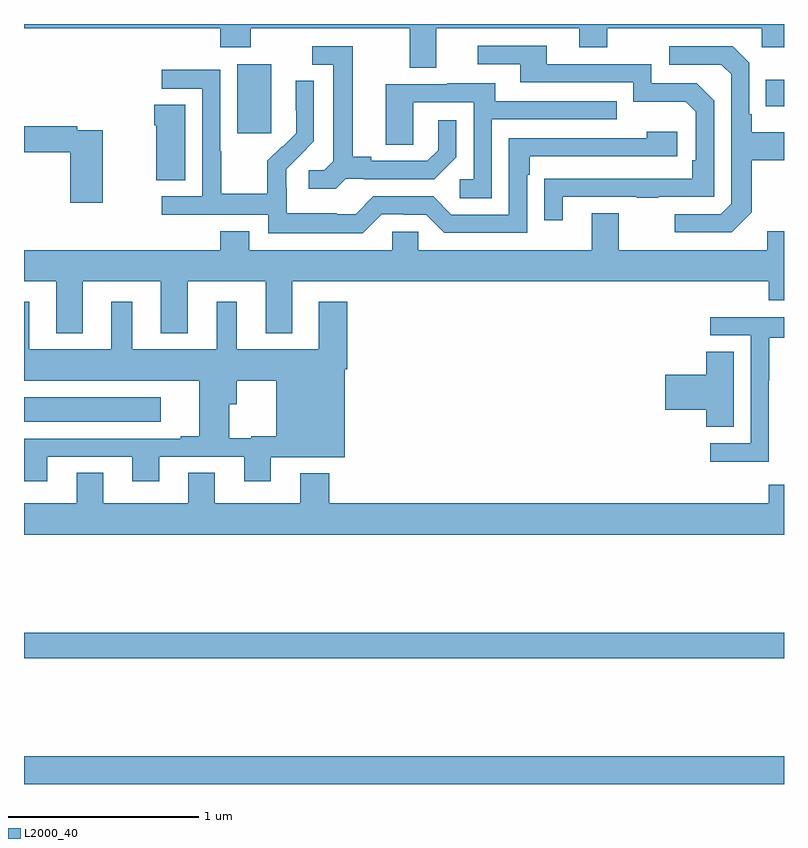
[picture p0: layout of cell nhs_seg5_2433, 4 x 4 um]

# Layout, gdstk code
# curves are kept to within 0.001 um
import gdstk
lib = gdstk.Library(unit=1e-6, precision=1e-09)
def R(c, l, rs):  # rectangles x0, y0, x1, y1
    for r in rs: c.add(gdstk.rectangle(r[:2], r[2:], *l))
def P(c, l, *ps):  # polygons
    for p in ps: c.add(gdstk.Polygon(p, *l))
L2000_40 = (2000, 40)

nhs_seg5_2433 = lib.new_cell('nhs_seg5_2433')
R(nhs_seg5_2433, L2000_40, [(253,836.799,257,836.944), (253,837.46,257,837.596), (253,838.706,253.72,838.834), (254.123,840.225,254.302,840.586), (256.903,840.365,257,840.505)])
P(nhs_seg5_2433, L2000_40, [(253,840.776),(254.033,840.776),(254.033,840.677),(254.193,840.677),(254.193,840.776),(255.029,840.776),(255.029,840.568),(255.169,840.568),(255.169,840.776),(255.923,840.776),(255.923,840.677),(256.071,840.677),(256.071,840.776),(256.884,840.776),(256.884,840.677),(257,840.677),(257,840.799),(253,840.799)],
  [(255.835,839.889),(256.225,839.889),(256.225,839.884),(256.337,839.884),(256.337,839.889),(256.632,839.889),(256.632,840.396),(256.542,840.486),(256.302,840.486),(256.302,840.588),(255.751,840.588),(255.751,840.684),(255.387,840.684),(255.387,840.588),(255.611,840.588),(255.611,840.492),(256.206,840.492),(256.206,840.389),(256.483,840.389),(256.536,840.336),(256.536,840.082),(256.516,840.082),(256.516,839.985),(255.739,839.984),(255.739,839.766),(255.835,839.766)],
  [(254.694,839.985),(254.788,839.985),(254.788,839.982),(255.16,839.982),(255.276,840.098),(255.276,840.292),(255.179,840.292),(255.179,840.135),(255.122,840.078),(254.827,840.078),(254.827,840.101),(254.731,840.101),(254.731,840.681),(254.517,840.681),(254.517,840.585),(254.627,840.585),(254.627,840.077),(254.58,840.03),(254.499,840.03),(254.499,839.933),(254.642,839.933)],
  [(256.831,839.809),(256.831,840.082),(257,840.082),(257,840.229),(256.831,840.229),(256.831,840.325),(256.818,840.325),(256.818,840.594),(256.731,840.681),(256.395,840.681),(256.395,840.585),(256.671,840.585),(256.722,840.534),(256.722,839.853),(256.668,839.799),(256.425,839.799),(256.425,839.703),(256.725,839.703)],
  [(254.883,839.799),(254.999,839.799),(254.999,839.796),(255.117,839.796),(255.213,839.7),(255.648,839.7),(255.648,840.005),(255.661,840.005),(255.661,840.102),(256.438,840.102),(256.438,840.232),(256.277,840.232),(256.277,840.198),(255.552,840.198),(255.552,839.796),(255.249,839.796),(255.153,839.892),(254.838,839.892),(254.745,839.799),(254.645,839.799),(254.645,839.803),(254.382,839.803),(254.382,839.937),(254.38,839.937),(254.38,840.034),(254.526,840.182),(254.526,840.5),(254.43,840.5),(254.43,840.346),(254.432,840.346),(254.432,840.224),(254.361,840.153),(254.358,840.156),(254.281,840.079),(254.281,839.905),(254.037,839.905),(254.037,840.128),(254.034,840.128),(254.034,840.558),(253.725,840.558),(253.725,840.459),(253.938,840.459),(253.938,839.892),(253.725,839.892),(253.725,839.796),(254.286,839.796),(254.286,839.699),(254.783,839.699)],
  [(255.462,840.297),(256.121,840.297),(256.121,840.393),(255.481,840.393),(255.481,840.487),(255.227,840.487),(255.227,840.483),(254.903,840.483),(254.903,840.163),(255.048,840.163),(255.048,840.387),(255.366,840.387),(255.366,839.982),(255.294,839.982),(255.294,839.881),(255.462,839.881)],
  [(253.849,840.374),(253.685,840.374),(253.685,840.266),(253.697,840.266),(253.697,839.977),(253.849,839.977)],
  [(253.414,840.24),(253.28,840.24),(253.28,840.26),(253,840.26),(253,840.124),(253.244,840.124),(253.244,839.859),(253.414,839.859)],
  [(256.919,839.345),(257,839.345),(257,839.707),(256.913,839.707),(256.913,839.608),(256.129,839.608),(256.129,839.803),(255.989,839.803),(255.989,839.608),(255.075,839.608),(255.075,839.706),(254.937,839.706),(254.937,839.608),(254.185,839.608),(254.185,839.707),(254.033,839.707),(254.033,839.608),(253,839.608),(253,839.444),(253.169,839.444),(253.169,839.171),(253.309,839.171),(253.309,839.444),(253.721,839.444),(253.721,839.171),(253.861,839.171),(253.861,839.444),(254.273,839.444),(254.273,839.171),(254.413,839.171),(254.413,839.444),(256.919,839.444)],
  [(253,838.617),(253,838.392),(253.123,838.392),(253.123,838.521),(253.571,838.521),(253.571,838.392),(253.711,838.392),(253.711,838.521),(254.159,838.521),(254.159,838.392),(254.299,838.392),(254.299,838.52),(254.689,838.52),(254.689,838.982),(254.702,838.982),(254.702,839.338),(254.552,839.338),(254.552,839.086),(254.119,839.086),(254.119,839.338),(254.015,839.338),(254.015,839.086),(253.57,839.086),(253.57,839.338),(253.46,839.338),(253.46,839.086),(253.027,839.086),(253.027,839.338),(253,839.338),(253,838.922),(253.922,838.922),(253.922,838.63),(253.826,838.63),(253.826,838.619),(254.08,838.619),(254.08,838.799),(254.119,838.799),(254.119,838.922),(254.327,838.922),(254.327,838.63),(254.195,838.63),(254.195,838.619),(254.08,838.619),(253.826,838.619),(253.826,838.617)],
  [(256.92,838.924),(256.923,838.924),(256.923,839.148),(257,839.148),(257,839.256),(256.611,839.256),(256.611,839.16),(256.824,839.16),(256.824,838.593),(256.611,838.593),(256.611,838.495),(256.92,838.495)],
  [(256.735,839.075),(256.592,839.075),(256.592,838.952),(256.374,838.952),(256.374,838.769),(256.592,838.769),(256.592,838.678),(256.735,838.678)],
  [(257,838.375),(256.919,838.375),(256.919,838.276),(254.606,838.276),(254.606,838.435),(254.453,838.435),(254.453,838.276),(254.005,838.276),(254.005,838.436),(253.865,838.436),(253.865,838.276),(253.417,838.276),(253.417,838.436),(253.277,838.436),(253.277,838.276),(253,838.276),(253,838.112),(257,838.112)])

lib.write_gds('nhs_seg5_2433.gds')
